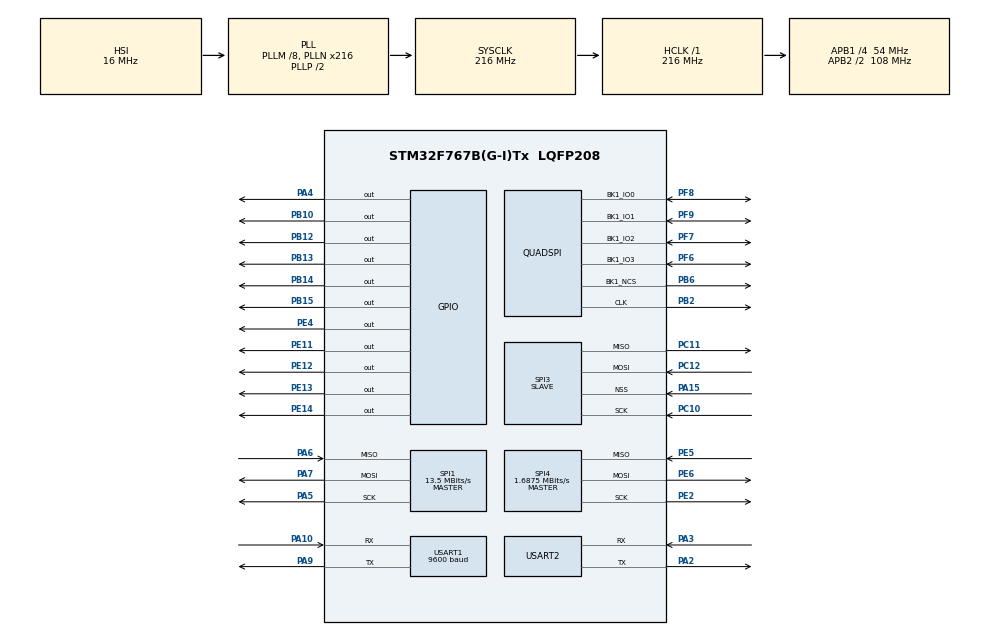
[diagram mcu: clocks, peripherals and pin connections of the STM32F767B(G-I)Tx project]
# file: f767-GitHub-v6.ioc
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CORTEX_M7.CPU_DCache=Enabled
CORTEX_M7.CPU_ICache=Enabled
Dma.Request0=USART1_RX
Dma.USART1_RX.0.Direction=DMA_PERIPH_TO_MEMORY
Dma.USART1_RX.0.FIFOMode=DMA_FIFOMODE_DISABLE
Dma.USART1_RX.0.Instance=DMA2_Stream5
Dma.USART1_RX.0.MemDataAlignment=DMA_MDATAALIGN_BYTE
Dma.USART1_RX.0.MemInc=DMA_MINC_ENABLE
Dma.USART1_RX.0.Mode=DMA_CIRCULAR
Dma.USART1_RX.0.PeriphDataAlignment=DMA_PDATAALIGN_BYTE
Dma.USART1_RX.0.PeriphInc=DMA_PINC_DISABLE
Dma.USART1_RX.0.Priority=DMA_PRIORITY_LOW
Mcu.Family=STM32F7
Mcu.Name=STM32F767B(G-I)Tx
Mcu.Package=LQFP208
NVIC.DMA2_Stream5_IRQn=true\:0\:0\:false\:false\:true\:false\:true\:true
NVIC.PriorityGroup=NVIC_PRIORITYGROUP_4
NVIC.USART1_IRQn=true\:0\:0\:false\:false\:true\:true\:true\:true
PA10.Mode=Asynchronous
PA10.Signal=USART1_RX
PA13.Mode=Serial_Wire
PA13.Signal=SYS_JTMS-SWDIO
PA14.Mode=Serial_Wire
PA14.Signal=SYS_JTCK-SWCLK
PA15.Mode=NSS_Signal_Hard_Input
PA15.Signal=SPI3_NSS
PA2.Mode=Asynchronous
PA2.Signal=USART2_TX
PA3.Mode=Asynchronous
PA3.Signal=USART2_RX
PA4.Signal=GPIO_Output
PA5.Mode=Full_Duplex_Master
PA5.Signal=SPI1_SCK
PA6.Mode=Full_Duplex_Master
PA6.Signal=SPI1_MISO
PA7.Mode=Full_Duplex_Master
PA7.Signal=SPI1_MOSI
PA9.Mode=Asynchronous
PA9.Signal=USART1_TX
PB10.Signal=GPIO_Output
PB12.Signal=GPIO_Output
PB13.Signal=GPIO_Output
PB14.Signal=GPIO_Output
PB15.Signal=GPIO_Output
PB2.Mode=Single Bank 1
PB2.Signal=QUADSPI_CLK
PB6.Mode=Single Bank 1
PB6.Signal=QUADSPI_BK1_NCS
PC10.Mode=Full_Duplex_Slave
PC10.Signal=SPI3_SCK
PC11.Mode=Full_Duplex_Slave
PC11.Signal=SPI3_MISO
PC12.Mode=Full_Duplex_Slave
PC12.Signal=SPI3_MOSI
PE11.Signal=GPIO_Output
PE12.Signal=GPIO_Output
PE13.Signal=GPIO_Output
PE14.Signal=GPIO_Output
PE2.Mode=Full_Duplex_Master
PE2.Signal=SPI4_SCK
PE4.Signal=GPIO_Output
PE5.Mode=Full_Duplex_Master
PE5.Signal=SPI4_MISO
PE6.Mode=Full_Duplex_Master
PE6.Signal=SPI4_MOSI
PF6.Mode=Single Bank 1
PF6.Signal=QUADSPI_BK1_IO3
PF7.Mode=Single Bank 1
PF7.Signal=QUADSPI_BK1_IO2
PF8.Mode=Single Bank 1
PF8.Signal=QUADSPI_BK1_IO0
PF9.Mode=Single Bank 1
PF9.Signal=QUADSPI_BK1_IO1
PH0/OSC_IN.Mode=HSE-External-Clock-Source
PH0/OSC_IN.Signal=RCC_OSC_IN
PH1/OSC_OUT.Mode=HSE-External-Clock-Source
PH1/OSC_OUT.Signal=RCC_OSC_OUT
ProjectManager.HeapSize=0x800
ProjectManager.StackSize=0x800
ProjectManager.TargetToolchain=STM32CubeIDE
RCC.AHBFreq_Value=216000000
RCC.APB1CLKDivider=RCC_HCLK_DIV4
RCC.APB1Freq_Value=54000000
RCC.APB1TimFreq_Value=108000000
RCC.APB2CLKDivider=RCC_HCLK_DIV2
RCC.APB2Freq_Value=108000000
RCC.APB2TimFreq_Value=216000000
RCC.CortexFreq_Value=216000000
RCC.HCLKFreq_Value=216000000
RCC.HSE_VALUE=8000000
RCC.HSI_VALUE=16000000
RCC.LSE_VALUE=32768
RCC.PLLM=8
RCC.PLLN=216
RCC.SYSCLKFreq_VALUE=216000000
RCC.SYSCLKSource=RCC_SYSCLKSOURCE_PLLCLK
RCC.USBFreq_Value=216000000
RCC.VCOOutputFreq_Value=432000000
SPI1.BaudRatePrescaler=SPI_BAUDRATEPRESCALER_8
SPI1.CalculateBaudRate=13.5 MBits/s
SPI1.DataSize=SPI_DATASIZE_8BIT
SPI1.Direction=SPI_DIRECTION_2LINES
SPI1.Mode=SPI_MODE_MASTER
SPI1.VirtualType=VM_MASTER
SPI3.Direction=SPI_DIRECTION_2LINES
SPI3.Mode=SPI_MODE_SLAVE
SPI3.VirtualNSS=VM_NSSHARD
SPI3.VirtualType=VM_SLAVE
SPI4.BaudRatePrescaler=SPI_BAUDRATEPRESCALER_64
SPI4.CalculateBaudRate=1.6875 MBits/s
SPI4.DataSize=SPI_DATASIZE_8BIT
SPI4.Direction=SPI_DIRECTION_2LINES
SPI4.Mode=SPI_MODE_MASTER
SPI4.VirtualType=VM_MASTER
STMicroelectronics.X-CUBE-AI.5.1.2.ActivationBufferSizeList=76958,136
STMicroelectronics.X-CUBE-AI.5.1.2.HeapSize=0x800
STMicroelectronics.X-CUBE-AI.5.1.2.InternalRamActivationBufferMaxSize=AI_NETWORK_DATA_ACTIVATIONS_SIZE
STMicroelectronics.X-CUBE-AI.5.1.2.LatestDirectoryUsed-10ce6e34b3af0ab56777239a154034a625cbe3776e9c489633e58f1fa8891972=N\:\\BKB code\\ICU Code and Model\\ICU Code and Model
STMicroelectronics.X-CUBE-AI.5.1.2.LatestDirectoryUsed-f766f3503004bc8a15ca6b6a6d5db3629ea01d60bda374dfcb00c51b4cbc64fa=C\:\\Users\\yasir\\Documents
STMicroelectronics.X-CUBE-AI.5.1.2.MaximumNumberOfInputLayer=1
STMicroelectronics.X-CUBE-AI.5.1.2.MaximumNumberOfOutputLayer=1
STMicroelectronics.X-CUBE-AI.5.1.2.MaximumSizeOfInputLayer=AI_NETWORK_IN_1_SIZE_BYTES
STMicroelectronics.X-CUBE-AI.5.1.2.MaximumSizeOfOutputLayer=AI_SINE_MODEL_OUT_1_SIZE_BYTES
STMicroelectronics.X-CUBE-AI.5.1.2.ModelActualCompression-10ce6e34b3af0ab56777239a154034a625cbe3776e9c489633e58f1fa8891972=0.0
STMicroelectronics.X-CUBE-AI.5.1.2.ModelActualCompression-f766f3503004bc8a15ca6b6a6d5db3629ea01d60bda374dfcb00c51b4cbc64fa=0.0
STMicroelectronics.X-CUBE-AI.5.1.2.ModelCompression-10ce6e34b3af0ab56777239a154034a625cbe3776e9c489633e58f1fa8891972=1
STMicroelectronics.X-CUBE-AI.5.1.2.ModelCompression-f766f3503004bc8a15ca6b6a6d5db3629ea01d60bda374dfcb00c51b4cbc64fa=4
STMicroelectronics.X-CUBE-AI.5.1.2.ModelFlashOccupation-10ce6e34b3af0ab56777239a154034a625cbe3776e9c489633e58f1fa8891972=128
STMicroelectronics.X-CUBE-AI.5.1.2.ModelFlashOccupation-f766f3503004bc8a15ca6b6a6d5db3629ea01d60bda374dfcb00c51b4cbc64fa=1284
STMicroelectronics.X-CUBE-AI.5.1.2.ModelHashList=10ce6e34b3af0ab56777239a154034a625cbe3776e9c489633e58f1fa8891972;f766f3503004bc8a15ca6b6a6d5db3629ea01d60bda374dfcb00c51b4cbc64fa
STMicroelectronics.X-CUBE-AI.5.1.2.ModelKind-10ce6e34b3af0ab56777239a154034a625cbe3776e9c489633e58f1fa8891972=TFLITE
STMicroelectronics.X-CUBE-AI.5.1.2.ModelKind-f766f3503004bc8a15ca6b6a6d5db3629ea01d60bda374dfcb00c51b4cbc64fa=TFLITE
STMicroelectronics.X-CUBE-AI.5.1.2.ModelMacc-10ce6e34b3af0ab56777239a154034a625cbe3776e9c489633e58f1fa8891972=499262
STMicroelectronics.X-CUBE-AI.5.1.2.ModelMacc-f766f3503004bc8a15ca6b6a6d5db3629ea01d60bda374dfcb00c51b4cbc64fa=320
STMicroelectronics.X-CUBE-AI.5.1.2.ModelName-10ce6e34b3af0ab56777239a154034a625cbe3776e9c489633e58f1fa8891972=network
STMicroelectronics.X-CUBE-AI.5.1.2.ModelName-f766f3503004bc8a15ca6b6a6d5db3629ea01d60bda374dfcb00c51b4cbc64fa=sine_model
STMicroelectronics.X-CUBE-AI.5.1.2.ModelNameList=network,sine_model
STMicroelectronics.X-CUBE-AI.5.1.2.ModelRamOccupation-10ce6e34b3af0ab56777239a154034a625cbe3776e9c489633e58f1fa8891972=76958
STMicroelectronics.X-CUBE-AI.5.1.2.ModelRamOccupation-f766f3503004bc8a15ca6b6a6d5db3629ea01d60bda374dfcb00c51b4cbc64fa=136
STMicroelectronics.X-CUBE-AI.5.1.2.ModelStructureFile-10ce6e34b3af0ab56777239a154034a625cbe3776e9c489633e58f1fa8891972=N\:\\BKB code\\ICU Code and Model\\ICU Code and Model\\MobileNetV2_2Class.tflite
STMicroelectronics.X-CUBE-AI.5.1.2.ModelStructureFile-f766f3503004bc8a15ca6b6a6d5db3629ea01d60bda374dfcb00c51b4cbc64fa=C\:\\Users\\yasir\\Documents\\sine_model.tflite
STMicroelectronics.X-CUBE-AI.5.1.2.ModelType-10ce6e34b3af0ab56777239a154034a625cbe3776e9c489633e58f1fa8891972=Saved model
STMicroelectronics.X-CUBE-AI.5.1.2.ModelType-f766f3503004bc8a15ca6b6a6d5db3629ea01d60bda374dfcb00c51b4cbc64fa=Saved model
STMicroelectronics.X-CUBE-AI.5.1.2.StackSize=0x800
STMicroelectronics.X-CUBE-AI.5.1.2.WorkingBufferStartAddrList=0xFFFFFFFF,0xFFFFFFFF
STMicroelectronics.X-CUBE-AI.5.1.2.XAaCUBEAaAICcArtificialOoIntelligenceJjCore=true
TIM13.Prescaler=79
TIM14.Prescaler=79
USART1.BaudRate=9600
USART1.VirtualMode-Asynchronous=VM_ASYNC
USART2.VirtualMode-Asynchronous=VM_ASYNC
VP_CRC_VS_CRC.Mode=CRC_Activate
VP_STMicroelectronics.X-CUBE-AI_VS_ArtificialOoIntelligenceJjXAaCUBEAaAI_5.1.2.Mode=ArtificialOoIntelligenceJjXAaCUBEAaAI
VP_TIM13_VS_ClockSourceINT.Mode=Enable_Timer
VP_TIM14_VS_ClockSourceINT.Mode=Enable_Timer
board=custom

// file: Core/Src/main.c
/* USER CODE BEGIN Header */
/**
  ******************************************************************************
  * @file           : main.c
  * @brief          : Main program body
  ******************************************************************************
  * @attention
  *
  * Copyright (c) 2022 STMicroelectronics.
  * All rights reserved.
  *
  * This software is licensed under terms that can be found in the LICENSE file
  * in the root directory of this software component.
  * If no LICENSE file comes with this software, it is provided AS-IS.
  *
  ******************************************************************************
  */
/* USER CODE END Header */
#include "main.h"
#include "crc.h"
#include "dma.h"
#include "quadspi.h"
#include "spi.h"
#include "tim.h"
#include "usart.h"
#include "gpio.h"

/* USER CODE BEGIN Includes */
#include "ai_datatypes_defines.h"
#include "ai_platform.h"

#include "network_data.h"
#include "network.h"

#include "sine_model.h"
#include "sine_model_data.h"

#include <math.h>
#include "string.h"
#include <stdio.h>
#include <assert.h>

#include "images.h"

#include "w25qxx.h"
#include "w25qxxConf.h"

#include "..\\tjpg\\tjpgd.h"

/* USER CODE END Includes */

/* USER CODE BEGIN PD */
#define Target  Space

#define serialPortDebug huart1
#define serialPortCAM huart3

#define shrdPortFM hspi1
#define localPortFM hspi4

#define debugPort huart1
#define serialCAM huart3
#define N_BPP (3 - JD_FORMAT)

/* USER CODE END PD */

/* USER CODE BEGIN PV */

int compression_ratio = 0;

uint8_t SR=0x77;
uint8_t start=0x11;

uint16_t i=0;
uint16_t iLoop=0;
uint16_t jLoop=0;
uint16_t loop=0;

uint32_t adrs=0;

uint8_t WREN  =0x06;
uint8_t WRDI  =0x04;
uint8_t RDSR  =0x05;
uint8_t WRSR  =0x01;
uint8_t READ_3ByteAdd  =0x03;
uint8_t READ_4ByteAdd  =0x13;
uint8_t WRITE_3ByteAdd =0x02;
uint8_t WRITE_4ByteAdd =0x12;

uint8_t ERASE =0x20;
uint8_t SECTORERASE_3ByteAdd =0xD8;
uint8_t SECTORERASE_4ByteAdd =0xDC;
uint8_t GETDATA =0x00;

int *pDataByte;
uint8_t StringLength=0;
char txString [50];
char Rx_indx, Rx_Buffer[100], Transfer_cplt;
char Rx_dataDBG[2]={0x11, 0x11};
char Rx_dataCAM[2]={0x33, 0x33};
uint8_t commandCAM=0x29;

#define csDelay 10
#define tiniestDelay 10
#define tinyDelay    100
#define fareDelay    2000

uint8_t handshakeCAM = 0;
uint8_t ACKtoCAM = 0x28;

uint8_t colored = 0x31;
uint8_t black = 0x32;
uint8_t error = 0x33;

uint8_t width_ack = 0x11;
uint8_t height_ack = 0x22;

uint8_t CAM_reso = 0;
uint8_t CAM_reso_W = 0;
uint8_t CAM_reso_H = 0;

uint8_t Earth_ICU = 0x31;
uint8_t Space_ICU = 0x32;
uint8_t Error_ICU = 0x33;

int Width = 0;
int Height = 0;
int Multiplier = 0;

int break_loop = 0;
int count = 0;
/* USER CODE END PV */

void SystemClock_Config(void);
/* USER CODE BEGIN PFP */

static void rgb2gray_uint8_T(uint8_t* Img, int channels, int width, int height, int compression, uint8_t result[76800]);
static void main_dataconverter(double Umat[14688], uint8_t* image, double imgdat[35]);
uint16_t in_func (JDEC* jd, uint8_t* buff, uint16_t nbyte);
uint16_t out_func (JDEC* jd, void* bitmap, JRECT* rect);
static void prepocess(uint8_t* Img, float result[19200*2]);

#ifdef __GNUC__
#define PUTCHAR_PROTOTYPE int __io_putchar(int ch)
#define GETCHAR_PROTOTYPE int __io_getchar(void)
#else
#define PUTCHAR_PROTOTYPE int fputc(int ch, FILE *f)
#define GETCHAR_PROTOTYPE int fgetc(FILE *f)
#endif
PUTCHAR_PROTOTYPE
{
HAL_UART_Transmit(&huart1, (uint8_t *)&ch, 1, HAL_MAX_DELAY);
return ch;
}
GETCHAR_PROTOTYPE
{
uint8_t ch = 0;

/* Clear the Overrun flag just before receiving the first character */
__HAL_UART_CLEAR_OREFLAG(&huart1);
/* Wait for reception of a character on the USART RX line and echo this

character on console */
HAL_UART_Receive (&debugPort, (uint8_t *)&ch, 1, HAL_MAX_DELAY);
HAL_UART_Transmit(&debugPort, (uint8_t *)&ch, 1, HAL_MAX_DELAY);
return ch;
}

/* USER CODE END PFP */

/* USER CODE BEGIN 0 */
// Pointer to our model
ai_handle sine_model = AI_HANDLE_NULL;

// Chunk of memory used to hold intermediate values for neural network
ai_u8 activations[AI_SINE_MODEL_DATA_ACTIVATIONS_SIZE];

// Buffers used to store input and output tensors
ai_i8 in_data[AI_SINE_MODEL_IN_1_SIZE_BYTES];
ai_i8 out_data[AI_SINE_MODEL_OUT_1_SIZE_BYTES];

// Pointer to our model
ai_handle icu_tflite = AI_HANDLE_NULL;

// Chunk of memory used to hold intermediate values for neural network
ai_u8 activations_ICU[AI_NETWORK_DATA_ACTIVATIONS_SIZE];

// Buffers used to store input and output tensors
ai_i8 image[AI_NETWORK_IN_1_SIZE_BYTES];
ai_i8 out_data_ICU[AI_NETWORK_OUT_1_SIZE_BYTES];

typedef struct {
    uint32_t fp;          																							/* File pointer for input function */
    uint8_t *fbuf;     																								/* Pointer to the frame buffer for output function */
    uint16_t wfbuf;    																								/* Width of the frame buffer [pix] */
} IODEV;

uint16_t in_func (JDEC* jd, uint8_t* buff, uint16_t nbyte)
{
    IODEV *dev = (IODEV*)jd->device;   																				/* Device identifier for the session (5th argument of jd_prepare function) */
    int i;

    if (buff) {
    	W25qxx_ReadBytes( buff, dev->fp, nbyte );

    	dev->fp += nbyte;

    	StringLength=sprintf(txString,"Value from FM %02X and Address %04u \r\n",*(buff+nbyte-1),dev->fp-1);
    	HAL_UART_Transmit(&debugPort, (uint8_t *) &txString, StringLength, 100);

        return nbyte;
    } else {
    	/* Remove bytes from input stream */
    	dev->fp += nbyte;
        return nbyte;
    }
}

uint16_t out_func (JDEC* jd, void* bitmap, JRECT* rect)
{
    IODEV *dev = (IODEV*)jd->device;
    uint8_t *src, *dst;
    uint16_t y, bws, bwd;

    /* Copy the decompressed RGB rectangular to the frame buffer (assuming RGB888 cfg) */
    src = (uint8_t*)bitmap;
    dst = dev->fbuf + N_BPP * (rect->top * dev->wfbuf + rect->left);  													/* Left-top of destination rectangular */
    bws = N_BPP * (rect->right - rect->left + 1);     																	/* Width of source rectangular [byte] */
    bwd = N_BPP * dev->wfbuf;                         																	/* Width of frame buffer [byte] */
    for (y = rect->top; y <= rect->bottom; y++) {
        memcpy(dst, src, bws);   																					/* Copy a line */
        src += bws; dst += bwd;  																					/* Next line */
    }

    return 1;    																									/* Continue to decompress */
}
/* USER CODE END 0 */

int main(void)
{
  /* USER CODE BEGIN 1 */
	  //(void)argc;
	  //(void)argv;
	  void *work;       																								/* Pointer to the decompressor work area */
	  JDEC jdec;        																								/* Decompression object */
	  JRESULT res;      																								/* Result code of TJpgDec API */
	  IODEV devid;      																								/* User defined device identifier */
	  int i;
	  int image_size = 0;

	  double predict;
	  uint8_t SR = 0x24;

	  size_t sz_work = 3100;

	  char buf[50];
	  int buf_len = 0;

//	  ai_error ai_err;
//	  ai_error ai_err_ICU;

//	  ai_i32 nbatch;
//	  ai_i32 nbatch_ICU;

	  uint32_t timestamp;
	  uint32_t timestamp_ICU;

	  uint8_t prediction = 0xFF;

	  float y_val;

  /* USER CODE END 1 */

  /* Enable I-Cache---------------------------------------------------------*/
  SCB_EnableICache();

  /* Enable D-Cache---------------------------------------------------------*/
  SCB_EnableDCache();

  /* MCU Configuration--------------------------------------------------------*/

  /* Reset of all peripherals, Initializes the Flash interface and the Systick. */
  HAL_Init();

  /* Configure the system clock */
  SystemClock_Config();

  /* Initialize all configured peripherals */
  MX_GPIO_Init();
  MX_DMA_Init();
  MX_SPI4_Init();
  MX_USART1_UART_Init();
  MX_SPI1_Init();
  MX_SPI3_Init();
  MX_QUADSPI_Init();
  MX_USART2_UART_Init();
  MX_TIM14_Init();
  MX_CRC_Init();
  MX_TIM13_Init();
  /* USER CODE BEGIN 2 */
  W25qxx_Init();

  printf("GRSS Satellite .. ICU code \r\n--------------------------\r\n");
  HAL_GPIO_WritePin(GPIOB, GPIO_PIN_10, GPIO_PIN_RESET); // Control the sharedFM, SET=STM32 RESET=ATMEGA
  buf_len = sprintf(buf, "\r\n\r\nSTM32 X-Cube-AI\r\n");
  HAL_UART_Transmit(&debugPort, (uint8_t *) &buf, buf_len, 100);

//  __HAL_RCC_CRC_CLK_ENABLE();
  ai_init_sine_model();
  ai_init_ICU();

  /* USER CODE END 2 */

  /* Infinite loop */
  /* USER CODE BEGIN WHILE */

  	char readBytes[5000]="ABC";
  	W25qxx_EraseBlock(0*0x10000); HAL_Delay(1000);
  	W25qxx_ReadBytes( readBytes, 0, sizeof(Target)%sizeof(readBytes) );	HAL_Delay(10);
  	W25qxx_WriteBlock(Target, 0*0x10000, 0, sizeof(Target)); HAL_Delay(1000);

  while (1)
  {
		printf("Loop \r\n");

		work = (void*)malloc(sz_work);
	  	count++;

	  	if (count == 1) {
	  		W25qxx_ReadBytes( readBytes, 0*0x10000, sizeof(Target) );
//	  		W25qxx_ReadBytes( readBytes, 1*0x10000, sizeof(Space) );
//	  		W25qxx_ReadBytes( readBytes, 2*0x10000, sizeof(Earth) );
	  	}

		  // Fill input buffer (use test value)
			for (uint32_t i = 0; i < AI_SINE_MODEL_IN_1_SIZE; i++)
			{
			  ((ai_float *)in_data)[i] = (ai_float)1.0f;
			}

			// Get current timestamp
			timestamp = htim13.Instance->CNT;

			// Perform inference
			ai_run_sine_model(in_data, out_data);

			// Read output (predicted y) of neural network
			y_val = ((float *)out_data)[0];

			// Print output of neural network along with inference time (microseconds)
			buf_len = sprintf(buf,
							  "Output: %f | Duration: %lu\r\n",
							  y_val,
							  htim13.Instance->CNT - timestamp);
			HAL_UART_Transmit(&debugPort, (uint8_t *)buf, buf_len, 100);

			// Wait before doing it again
			HAL_Delay(500);

//
	  	handshakeCAM = 0;

			StringLength=sprintf(txString,"\r\n\nImage Processing Starts Now\r\n");
			HAL_UART_Transmit(&debugPort, (uint8_t *) &txString, StringLength, 100);

			HAL_Delay(1000);
			devid.fp=0;
//			devid.fp= Space;
//			devid.fp= count%3 * 0x10000;
//
			StringLength=sprintf(txString,"\r\n");
			HAL_UART_Transmit(&debugPort, (uint8_t *) &txString, StringLength, 100);

			res = jd_prepare(&jdec, in_func, work, sz_work, &devid);													/* Prepare to decompress */
			if (res == JDR_OK)
			{																					/* Ready to decompress. Image info is available here. */
				StringLength=sprintf(txString,"\r\n\nOriginal image size is %u x %u X 3.\r\n%u Bytes of work area is used.\r\n\n", jdec.width, jdec.height, sz_work - jdec.sz_pool);
				HAL_UART_Transmit(&debugPort, (uint8_t *) &txString, StringLength, 100);

				image_size = N_BPP  * jdec.width * jdec.height;
				devid.fbuf = (uint8_t*)malloc(image_size); /* Create frame buffer for output image */
		        devid.wfbuf = jdec.width;

				Width = jdec.width;
				Height = jdec.height;

				StringLength=sprintf(txString,"\r\n\nPreparation for Decompression - Success\r\n");
				HAL_UART_Transmit(&debugPort, (uint8_t *) &txString, StringLength, 100);

//				res = jd_decomp(&jdec, out_func, compression_ratio);   																/* Start to decompress with 1-1 scaling*/
//				if (res == JDR_OK)
//				{
//					StringLength=sprintf(txString,"Decompression - Success\r\n");
//					HAL_UART_Transmit(&debugPort, (uint8_t *) &txString, StringLength, 100);
//				}
//				else
//				{
//					StringLength=sprintf(txString,"%d - Decompression - Failed\r\n",res);
//					HAL_UART_Transmit(&debugPort, (uint8_t *) &txString, StringLength, 100);
//				}
			}
			else
			{
			  StringLength=sprintf(txString,"\r\n\n %d - Preparation for Decompression - Failed\r\n",res);
			  HAL_UART_Transmit(&debugPort, (uint8_t *) &txString, StringLength, 100);
			}
			HAL_Delay(1000);

    /* USER CODE END WHILE */

    /* USER CODE BEGIN 3 */
			free(work);
			free(devid.fbuf);
  }
  /* USER CODE END 3 */
}

void SystemClock_Config(void)
{
  RCC_OscInitTypeDef RCC_OscInitStruct = {0};
  RCC_ClkInitTypeDef RCC_ClkInitStruct = {0};

  /** Configure the main internal regulator output voltage
  */
  __HAL_RCC_PWR_CLK_ENABLE();
  __HAL_PWR_VOLTAGESCALING_CONFIG(PWR_REGULATOR_VOLTAGE_SCALE1);

  /** Initializes the RCC Oscillators according to the specified parameters
  * in the RCC_OscInitTypeDef structure.
  */
  RCC_OscInitStruct.OscillatorType = RCC_OSCILLATORTYPE_HSI;
  RCC_OscInitStruct.HSIState = RCC_HSI_ON;
  RCC_OscInitStruct.HSICalibrationValue = RCC_HSICALIBRATION_DEFAULT;
  RCC_OscInitStruct.PLL.PLLState = RCC_PLL_ON;
  RCC_OscInitStruct.PLL.PLLSource = RCC_PLLSOURCE_HSI;
  RCC_OscInitStruct.PLL.PLLM = 8;
  RCC_OscInitStruct.PLL.PLLN = 216;
  RCC_OscInitStruct.PLL.PLLP = RCC_PLLP_DIV2;
  RCC_OscInitStruct.PLL.PLLQ = 2;
  RCC_OscInitStruct.PLL.PLLR = 2;
  if (HAL_RCC_OscConfig(&RCC_OscInitStruct) != HAL_OK)
  {
    Error_Handler();
  }

  /** Activate the Over-Drive mode
  */
  if (HAL_PWREx_EnableOverDrive() != HAL_OK)
  {
    Error_Handler();
  }

  /** Initializes the CPU, AHB and APB buses clocks
  */
  RCC_ClkInitStruct.ClockType = RCC_CLOCKTYPE_HCLK|RCC_CLOCKTYPE_SYSCLK
                              |RCC_CLOCKTYPE_PCLK1|RCC_CLOCKTYPE_PCLK2;
  RCC_ClkInitStruct.SYSCLKSource = RCC_SYSCLKSOURCE_PLLCLK;
  RCC_ClkInitStruct.AHBCLKDivider = RCC_SYSCLK_DIV1;
  RCC_ClkInitStruct.APB1CLKDivider = RCC_HCLK_DIV4;
  RCC_ClkInitStruct.APB2CLKDivider = RCC_HCLK_DIV2;

  if (HAL_RCC_ClockConfig(&RCC_ClkInitStruct, FLASH_LATENCY_7) != HAL_OK)
  {
    Error_Handler();
  }
}

/* USER CODE BEGIN 4 */

void ai_init_ICU(void)
{
	char buf[50];
	int buf_len = 0;
	ai_error ai_err_ICU;

	// Create instance of neural network
	ai_err_ICU = ai_network_create(&icu_tflite, AI_NETWORK_DATA_CONFIG);
	if (ai_err_ICU.type != AI_ERROR_NONE)
	{
	  buf_len = sprintf(buf, "E: AI ai_network_create error - type=%d code=%d\r\n", ai_err_ICU.type, ai_err_ICU.code);
	  HAL_UART_Transmit(&debugPort, (uint8_t *) &buf, buf_len, 100);
	  while(1);
	}
	else
	{
		    buf_len = sprintf(buf, "NN instance created! \r\n");
		    HAL_UART_Transmit(&debugPort, (uint8_t *) &buf, buf_len, 100);
	}

	// Set working memory and get weights/biases from model
	//	  ai_network_params ai_params_ICU = AI_NETWORK_PARAMS_INIT(AI_NETWORK_DATA_WEIGHTS(ai_network_data_weights_get()), AI_NETWORK_DATA_ACTIVATIONS(activations_ICU));
	ai_network_params ai_params_ICU = {
			  AI_NETWORK_DATA_WEIGHTS(ai_network_data_weights_get()),
			  AI_NETWORK_DATA_ACTIVATIONS(activations_ICU)
	};

	// Initialize neural network
	if (!ai_network_init(icu_tflite, &ai_params_ICU))
	{
	  buf_len = sprintf(buf, "E: AI ai_network_init error - type=%d code=%d\r\n", ai_err_ICU.type, ai_err_ICU.code);
	  HAL_UART_Transmit(&debugPort, (uint8_t *) &buf, buf_len, 100);
	  while(1);
	}
	else
	{
		    buf_len = sprintf(buf, "NN initialized\r\n");
		    HAL_UART_Transmit(&debugPort, (uint8_t *) &buf, buf_len, 100);
	}

}

void ai_init_sine_model(void)
{
	char buf[50];
	int buf_len = 0;
	ai_error ai_err;

	// Create instance of neural network
	ai_err = ai_sine_model_create(&sine_model, AI_SINE_MODEL_DATA_CONFIG);
	if (ai_err.type != AI_ERROR_NONE)
	{
	  buf_len = sprintf(buf, "E: AI ai_network_create error - type=%d code=%d\r\n", ai_err.type, ai_err.code);
	  HAL_UART_Transmit(&debugPort, (uint8_t *)buf, buf_len, 100);
	  while(1);
	}
	else
	{
		    buf_len = sprintf(buf, "NN instance created! \r\n");
		    HAL_UART_Transmit(&debugPort, (uint8_t *) &buf, buf_len, 100);
	}

	// Set working memory and get weights/biases from model
	ai_network_params ai_params = {
	  AI_SINE_MODEL_DATA_WEIGHTS(ai_sine_model_data_weights_get()),
	  AI_SINE_MODEL_DATA_ACTIVATIONS(activations)
	};

	// Initialize neural network
	if (!ai_sine_model_init(sine_model, &ai_params))
	{
	  buf_len = sprintf(buf, "E: AI ai_network_init error - type=%d code=%d\r\n", ai_err.type, ai_err.code);
	  HAL_UART_Transmit(&debugPort, (uint8_t *)buf, buf_len, 100);
	  while(1);
	}
	else
	{
		    buf_len = sprintf(buf, "NN initialized\r\n");
		    HAL_UART_Transmit(&debugPort, (uint8_t *) &buf, buf_len, 100);
	}
}

int ai_run_sine_model(const void *image, void *out_data)
{
	char buf[50];
	int buf_len = 0;
	ai_i32 n_batch;
	ai_error ai_err;

	// Initialize wrapper structs that hold pointers to data and info about the
	// data (tensor height, width, channels)
	ai_buffer ai_input[AI_SINE_MODEL_IN_NUM] = AI_SINE_MODEL_IN;
	ai_buffer ai_output[AI_SINE_MODEL_OUT_NUM] = AI_SINE_MODEL_OUT;

	// Set pointers wrapper structs to our data buffers
	ai_input[0].n_batches = 1;
	ai_input[0].data = AI_HANDLE_PTR(in_data);
	ai_output[0].n_batches = 1;
	ai_output[0].data = AI_HANDLE_PTR(out_data);

	// Perform inference
	n_batch = ai_sine_model_run(sine_model, &ai_input[0], &ai_output[0]);

	if (n_batch != 1)
	{
		ai_err = ai_network_get_error(sine_model);
		buf_len = sprintf(buf, "E: AI ai_network_run error - type=%d code=%d\r\n", ai_err.type, ai_err.code);
		HAL_UART_Transmit(&debugPort, (uint8_t *) &buf, buf_len, 100);
	}
	else
	{
		buf_len = sprintf(buf, "\r\nRunning ICU tflite done!\r\n");
		HAL_UART_Transmit(&debugPort, (uint8_t *) &buf, buf_len, 100);
	}
}

int ai_run_ICU(const void *image, void *out_data)
{
	char buf[50];
	int buf_len = 0;
	ai_i32 n_batch;
	ai_error ai_err;

	// Initialize wrapper structs that hold pointers to data and info about the
	// data (tensor height, width, channels)
	ai_buffer ai_input[AI_NETWORK_IN_NUM] = AI_NETWORK_IN;
	ai_buffer ai_output[AI_NETWORK_OUT_NUM] = AI_NETWORK_OUT;

	ai_input[0].n_batches = 1;
	ai_input[0].data = AI_HANDLE_PTR(image);
	ai_output[0].n_batches = 1;
	ai_output[0].data = AI_HANDLE_PTR(out_data);

	    // Perform inference
		n_batch = ai_network_run(icu_tflite, &ai_input[0], &ai_output[0]);

	    if (n_batch != 1)
	    {
	      ai_err = ai_network_get_error(icu_tflite);
	      buf_len = sprintf(buf, "E: AI ai_network_run error - type=%d code=%d\r\n", ai_err.type, ai_err.code);
	      HAL_UART_Transmit(&debugPort, (uint8_t *) &buf, buf_len, 100);
	      return 0;
	    }
	    else
	    {
	  	    buf_len = sprintf(buf, "\r\nRunning ICU tflite done!\r\n");
	  	    HAL_UART_Transmit(&debugPort, (uint8_t *) &buf, buf_len, 100);
	    }
	    return 1;
}

/* USER CODE END 4 */

void Error_Handler(void)
{
  __disable_irq();
  while (1)
  {
  }
}
